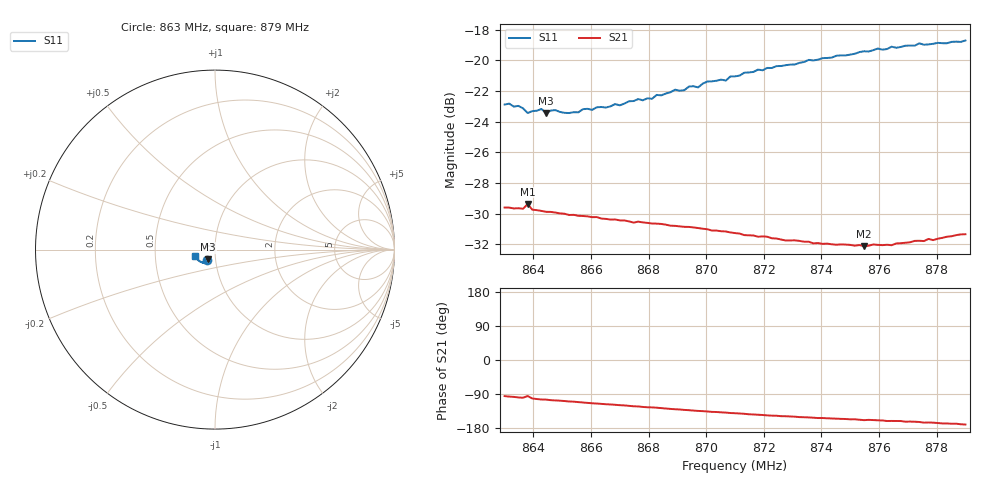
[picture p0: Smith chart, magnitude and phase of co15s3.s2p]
# HZ S RI R 50
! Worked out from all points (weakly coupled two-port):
!   101 points, 863 MHz to 879 MHz, reference 50 ohm
!   highest |S21| = -29.37 dB at 863.8 MHz (marker M1); lowest = -32.1 dB at 875.48 MHz (marker M2)
!   lowest |S11| = -23.4 dB at 864.44 MHz (marker M3), VSWR 1.14, Z = 46 - j5.1 ohm
!   |S11| at or under -10 dB: start of sweep to end of sweep
!   S12 and S22 are empty: the file has one direction only
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8.63e8  -0.0447 -0.0561  -0.00303 -0.033  0 0  0 0
8.6364e8  -0.0415 -0.056  -0.00543 -0.0324  0 0  0 0
8.638e8  -0.0342 -0.058  -0.00301 -0.0339  0 0  0 0
8.6396e8  -0.0399 -0.0554  -0.00649 -0.0319  0 0  0 0
8.6428e8  -0.0392 -0.0573  -0.00793 -0.0313  0 0  0 0
8.6444e8  -0.0385 -0.0551  -0.00805 -0.031  0 0  0 0
8.6476e8  -0.0387 -0.0569  -0.00916 -0.0306  0 0  0 0
8.6556e8  -0.0369 -0.0567  -0.0112 -0.029  0 0  0 0
8.6572e8  -0.0361 -0.0592  -0.0117 -0.0288  0 0  0 0
8.67e8  -0.0354 -0.0619  -0.0147 -0.0262  0 0  0 0
8.6844e8  -0.0382 -0.0667  -0.0176 -0.0234  0 0  0 0
8.6892e8  -0.0413 -0.0688  -0.0186 -0.0221  0 0  0 0
8.6972e8  -0.0429 -0.0694  -0.0199 -0.0203  0 0  0 0
8.7004e8  -0.0455 -0.0722  -0.0202 -0.0196  0 0  0 0
8.7068e8  -0.0478 -0.0714  -0.0208 -0.0182  0 0  0 0
8.7084e8  -0.0512 -0.0723  -0.021 -0.0177  0 0  0 0
8.71e8  -0.0504 -0.0729  -0.0211 -0.0174  0 0  0 0
8.718e8  -0.0573 -0.0736  -0.0216 -0.0155  0 0  0 0
8.7372e8  -0.0688 -0.0724  -0.0224 -0.0118  0 0  0 0
8.7548e8  -0.0842 -0.0661  -0.0231 -0.009  0 0  0 0
8.7644e8  -0.0932 -0.0599  -0.0236 -0.0082  0 0  0 0
8.79e8  -0.1099 -0.0374  -0.0267 -0.00461  0 0  0 0
